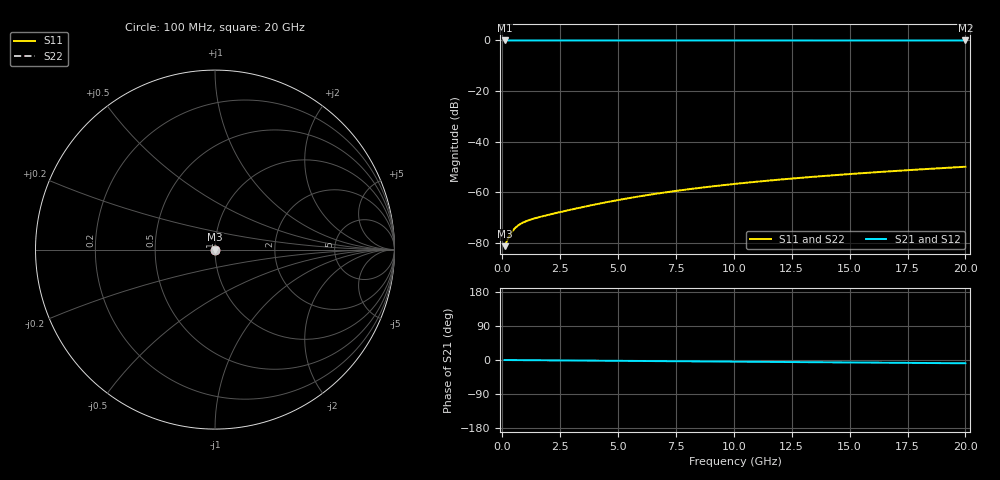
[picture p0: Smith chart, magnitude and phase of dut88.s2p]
! Touchstone file exported from HFSS 2026.1.0
!  File:  C:/ffzhzh/LocalFiles/Ansys_Project_Files/temp_train_TSV_88_1782959606_45748.aedt
!  Generated:  10:34:53 AM Jul  2, 2026
!  Design:  TSV
!  Project:  temp_train_TSV_88_1782959606_45748
! Variables:
!  h_bsmrdl = 2um
!  h_ox = 20um
!  h_rdl = 5um
!  h_sub = 85.43um
!  h_tmrdl = 5um
!  h_tsv = 85.43um
!  h_via = 3um
!  l_bsmrdl = 300um
!  l_sub = 428.02um
!  l_tmrdl = 200um
!  m_sub = 200um
!  pitch = 54.76um
!  r_tsv = 14.01um
!  s_tmrdl = 10um
!  w_bsmrdl = 18um
!  w_sub = 500um
!  w_tmrdl = 12um
!  x_tsv_center1 = 206um
!  x_tsv_center2 = 524um
!  x_tsv_center3 = 736um
!  x_tsv_center4 = 1054um
!  x_tsv_center5 = 1266um
!  x_tsv_center6 = 1584um
# GHz S MA R 50.000000
! Terminal data exported
! Port[1] = TSV1_1_T1
! Port[2] = TSV1_1_T2
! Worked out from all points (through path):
!   200 points, 100 MHz to 20 GHz, reference 50 ohm
!   highest |S21| = 0.00 dB at 100 MHz (marker M1); lowest = 0.0 dB at 20 GHz (marker M2)
!   group delay of S21, straight-line fit = 1.2 ps
!   lowest |S11| = -81.3 dB at 100 MHz (marker M3), VSWR 1.00, Z = 50 + j0.00281 ohm
!   |S11| at or under -10 dB: start of sweep to end of sweep
!   |S22| runs from -81.3 to -49.9 dB; largest |S21 - S12| = 3.6e-15
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0.1  8.595e-05 19.1  0.9999 -0.0  0.9999 -0.0  8.595e-05 19.1
! Gamma 0 0 0 0
! Port Impedance 50 0 50 0
0.2  0.0001087 28.8  0.9999 -0.1  0.9999 -0.1  0.0001087 28.8
0.3  0.0001354 31.4  0.9999 -0.1  0.9999 -0.1  0.0001354 31.4
0.4  0.0001613 30.3  0.9999 -0.2  0.9999 -0.2  0.0001613 30.3
0.5  0.0001846 27.6  0.9998 -0.2  0.9998 -0.2  0.0001846 27.6
0.6  0.0002051 24.2  0.9998 -0.3  0.9998 -0.3  0.0002051 24.2
0.7  0.0002229 20.7  0.9998 -0.3  0.9998 -0.3  0.0002229 20.7
0.9  0.000252 13.8  0.9998 -0.4  0.9998 -0.4  0.0002521 13.8
1.2  0.0002858 4.8  0.9997 -0.5  0.9997 -0.5  0.0002858 4.8
1.6  0.0003231 -4.9  0.9997 -0.7  0.9997 -0.7  0.0003231 -4.9
2.4  0.0003961 -18.9  0.9996 -1.0  0.9996 -1.0  0.0003962 -18.9
3.5  0.0005124 -31.7  0.9996 -1.5  0.9996 -1.5  0.0005125 -31.7
4.3  0.0006094 -38.4  0.9995 -1.9  0.9995 -1.9  0.0006094 -38.4
5.1  0.0007147 -43.8  0.9995 -2.2  0.9995 -2.2  0.0007147 -43.8
5.9  0.0008264 -48.3  0.9994 -2.6  0.9994 -2.6  0.0008264 -48.3
6.8  0.0009578 -52.5  0.9994 -3.0  0.9994 -3.0  0.0009579 -52.5
8.4  0.001202 -58.5  0.9993 -3.6  0.9993 -3.6  0.001202 -58.5
10.1  0.001471 -63.4  0.9992 -4.4  0.9992 -4.4  0.001471 -63.4
11.7  0.001732 -67.1  0.9992 -5.1  0.9992 -5.1  0.001732 -67.1
13.4  0.002015 -70.4  0.9991 -5.8  0.9991 -5.8  0.002016 -70.4
16.7  0.002587 -75.3  0.999 -7.2  0.999 -7.2  0.002587 -75.3
20  0.003192 -79.1  0.9989 -8.6  0.9989 -8.6  0.003192 -79.1
